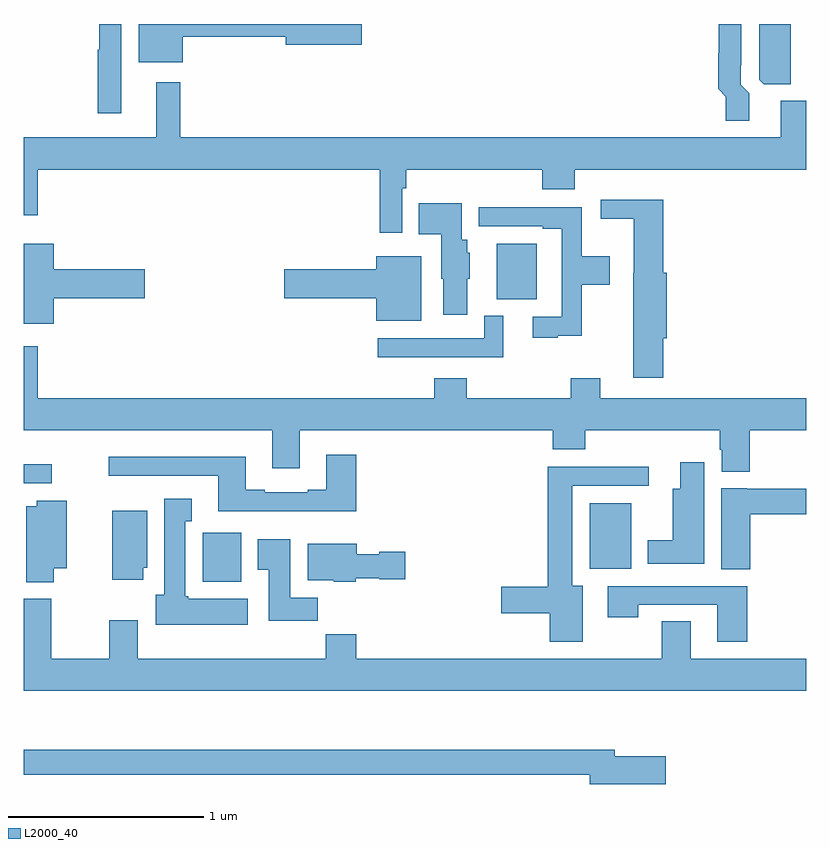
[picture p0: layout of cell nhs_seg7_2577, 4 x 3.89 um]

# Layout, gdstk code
import gdstk
lib = gdstk.Library(unit=1e-6, precision=1e-09)
def R(c, l, rs):  # rectangles x0, y0, x1, y1
    for r in rs: c.add(gdstk.rectangle(r[:2], r[2:], *l))
def P(c, l, *ps):  # polygons
    for p in ps: c.add(gdstk.Polygon(p, *l))
L2000_40 = (2000, 40)

nhs_seg7_2577 = lib.new_cell('nhs_seg7_2577')
R(nhs_seg7_2577, L2000_40, [(279.915,1025.15,280.111,1025.4), (281.894,1025.216,282.106,1025.551), (279,1025.652,279.142,1025.749), (281.417,1026.593,281.623,1026.877)])
P(nhs_seg7_2577, L2000_40, [(282.922,1027.907),(282.921,1027.907),(282.921,1028),(282.759,1028),(282.759,1027.716),(282.783,1027.693),(282.922,1027.693)],
  [(279.499,1028),(279.385,1028),(279.385,1027.869),(279.378,1027.869),(279.378,1027.545),(279.499,1027.545)],
  [(279.814,1027.936),(280.34,1027.936),(280.34,1027.894),(280.729,1027.894),(280.729,1028),(279.587,1028),(279.587,1027.805),(279.814,1027.805)],
  [(282.709,1027.646),(282.666,1027.689),(282.666,1027.789),(282.669,1027.789),(282.669,1028),(282.553,1028),(282.553,1027.85),(282.551,1027.85),(282.551,1027.668),(282.589,1027.629),(282.589,1027.506),(282.709,1027.506)],
  [(280.935,1027.16),(280.955,1027.16),(280.955,1027.256),(281.651,1027.256),(281.651,1027.154),(281.816,1027.154),(281.816,1027.256),(283,1027.256),(283,1027.608),(282.869,1027.608),(282.869,1027.42),(279.799,1027.42),(279.799,1027.702),(279.677,1027.702),(279.677,1027.42),(279,1027.42),(279,1027.023),(279.071,1027.023),(279.071,1027.256),(280.819,1027.256),(280.819,1026.933),(280.935,1026.933)],
  [(282.269,1026.393),(282.287,1026.393),(282.287,1026.729),(282.269,1026.729),(282.269,1027.102),(281.949,1027.102),(281.949,1027.004),(282.119,1027.004),(282.119,1026.729),(282.116,1026.729),(282.116,1026.192),(282.269,1026.192)],
  [(281.266,1026.699),(281.281,1026.699),(281.281,1026.831),(281.266,1026.831),(281.266,1026.897),(281.239,1026.897),(281.239,1027.084),(281.02,1027.084),(281.02,1026.926),(281.135,1026.926),(281.135,1026.699),(281.144,1026.699),(281.144,1026.513),(281.266,1026.513)],
  [(281.729,1026.407),(281.852,1026.407),(281.852,1026.667),(281.995,1026.667),(281.995,1026.814),(281.852,1026.814),(281.852,1027.062),(281.567,1027.062),(281.567,1027.064),(281.325,1027.064),(281.325,1026.966),(281.654,1026.966),(281.654,1026.954),(281.751,1026.954),(281.751,1026.504),(281.601,1026.504),(281.601,1026.396),(281.729,1026.396)],
  [(279.154,1026.599),(279.619,1026.599),(279.619,1026.746),(279.154,1026.746),(279.154,1026.877),(279,1026.877),(279,1026.467),(279.154,1026.467)],
  [(281.032,1026.814),(280.802,1026.814),(280.802,1026.746),(280.332,1026.746),(280.332,1026.599),(280.802,1026.599),(280.802,1026.482),(281.032,1026.482)],
  [(281.452,1026.508),(281.355,1026.508),(281.355,1026.393),(280.809,1026.393),(280.809,1026.297),(281.452,1026.297)],
  [(282.71,1025.924),(283,1025.924),(283,1026.088),(281.947,1026.088),(281.947,1026.19),(281.795,1026.19),(281.795,1026.088),(281.264,1026.088),(281.264,1026.19),(281.099,1026.19),(281.099,1026.088),(279.071,1026.088),(279.071,1026.352),(279,1026.352),(279,1025.924),(280.271,1025.924),(280.271,1025.73),(280.411,1025.73),(280.411,1025.924),(281.705,1025.924),(281.705,1025.825),(281.87,1025.825),(281.87,1025.924),(282.557,1025.924),(282.557,1025.823),(282.569,1025.823),(282.569,1025.711),(282.71,1025.711)],
  [(280.7,1025.797),(280.547,1025.797),(280.547,1025.62),(280.451,1025.62),(280.451,1025.607),(280.231,1025.607),(280.231,1025.62),(280.135,1025.62),(280.135,1025.788),(279.435,1025.788),(279.435,1025.691),(279.995,1025.691),(279.995,1025.51),(280.7,1025.51)],
  [(282.478,1025.761),(282.356,1025.761),(282.356,1025.623),(282.317,1025.623),(282.317,1025.362),(282.191,1025.362),(282.191,1025.24),(282.478,1025.24)],
  [(281.857,1025.128),(281.803,1025.128),(281.803,1025.64),(282.196,1025.64),(282.196,1025.738),(281.678,1025.738),(281.678,1025.123),(281.442,1025.123),(281.442,1024.988),(281.69,1024.988),(281.69,1024.842),(281.857,1024.842)],
  [(282.713,1025.494),(283,1025.494),(283,1025.623),(282.696,1025.623),(282.696,1025.626),(282.566,1025.626),(282.566,1025.212),(282.713,1025.212)],
  [(280.144,1025.062),(279.84,1025.062),(279.84,1025.076),(279.826,1025.076),(279.826,1025.459),(279.859,1025.459),(279.859,1025.572),(279.719,1025.572),(279.719,1025.082),(279.674,1025.082),(279.674,1024.928),(280.144,1024.928)],
  [(279.154,1025.219),(279.22,1025.219),(279.22,1025.563),(279.066,1025.563),(279.066,1025.536),(279.014,1025.536),(279.014,1025.146),(279.154,1025.146)],
  [(279.61,1025.22),(279.631,1025.22),(279.631,1025.512),(279.452,1025.512),(279.452,1025.16),(279.61,1025.16)],
  [(280.502,1025.068),(280.363,1025.068),(280.363,1025.365),(280.196,1025.365),(280.196,1025.209),(280.253,1025.209),(280.253,1024.95),(280.502,1024.95)],
  [(280.698,1025.168),(280.818,1025.168),(280.818,1025.161),(280.951,1025.161),(280.951,1025.303),(280.818,1025.303),(280.818,1025.29),(280.702,1025.29),(280.702,1025.344),(280.451,1025.344),(280.451,1025.156),(280.584,1025.156),(280.584,1025.15),(280.698,1025.15)],
  [(282.698,1025.127),(281.985,1025.127),(281.985,1024.968),(282.141,1024.968),(282.141,1025.031),(282.545,1025.031),(282.545,1024.842),(282.698,1024.842)],
  [(283,1024.756),(282.409,1024.756),(282.409,1024.946),(282.262,1024.946),(282.262,1024.756),(280.7,1024.756),(280.7,1024.88),(280.543,1024.88),(280.543,1024.756),(279.583,1024.756),(279.583,1024.951),(279.436,1024.951),(279.436,1024.756),(279.141,1024.756),(279.141,1025.061),(279,1025.061),(279,1024.592),(283,1024.592)],
  [(282.283,1024.257),(282.022,1024.257),(282.022,1024.291),(279,1024.291),(279,1024.162),(281.894,1024.162),(281.894,1024.115),(282.283,1024.115)])

lib.write_gds('nhs_seg7_2577.gds')
